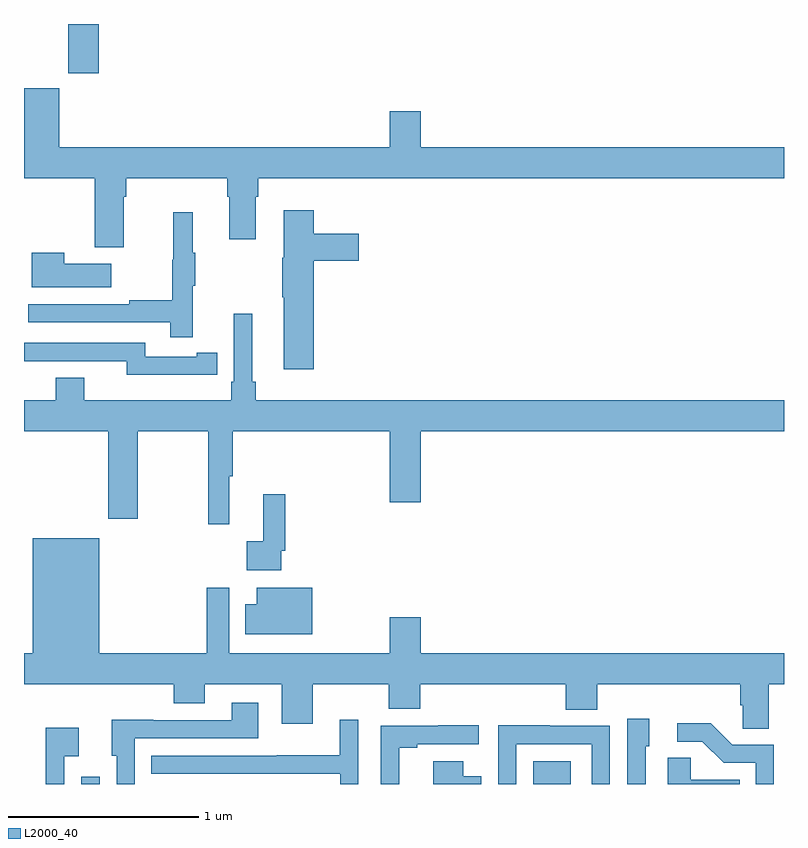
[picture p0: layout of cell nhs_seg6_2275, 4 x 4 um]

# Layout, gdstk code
import gdstk
lib = gdstk.Library(unit=1e-6, precision=1e-09)
def R(c, l, rs):  # rectangles x0, y0, x1, y1
    for r in rs: c.add(gdstk.rectangle(r[:2], r[2:], *l))
def P(c, l, *ps):  # polygons
    for p in ps: c.add(gdstk.Polygon(p, *l))
L2000_40 = (2000, 40)

nhs_seg6_2275 = lib.new_cell('nhs_seg6_2275')
R(nhs_seg6_2275, L2000_40, [(247.302,925.5,247.398,925.537), (249.68,925.5,249.877,925.621), (247.234,929.241,247.394,929.5)])
P(nhs_seg6_2275, L2000_40, [(247.525,928.592),(247.538,928.592),(247.538,928.688),(248.069,928.688),(248.069,928.592),(248.081,928.592),(248.081,928.368),(248.221,928.368),(248.221,928.592),(248.234,928.592),(248.234,928.688),(251,928.688),(251,928.852),(249.088,928.852),(249.088,929.041),(248.924,929.041),(248.924,928.852),(247.186,928.852),(247.186,929.161),(247,929.161),(247,928.688),(247.373,928.688),(247.373,928.326),(247.525,928.326)],
  [(248.525,928.253),(248.761,928.253),(248.761,928.395),(248.525,928.395),(248.525,928.519),(248.366,928.519),(248.366,928.269),(248.359,928.269),(248.359,928.063),(248.366,928.063),(248.366,927.684),(248.525,927.684)],
  [(247.889,928.123),(247.9,928.123),(247.9,928.297),(247.889,928.297),(247.889,928.51),(247.786,928.51),(247.786,928.26),(247.779,928.26),(247.779,928.046),(247.555,928.046),(247.555,928.026),(247.023,928.026),(247.023,927.93),(247.771,927.93),(247.771,927.852),(247.889,927.852)],
  [(247.459,928.237),(247.211,928.237),(247.211,928.297),(247.04,928.297),(247.04,928.115),(247.459,928.115)],
  [(248.081,927.12),(248.099,927.12),(248.099,927.356),(248.924,927.356),(248.924,926.982),(249.088,926.982),(249.088,927.356),(251,927.356),(251,927.52),(248.219,927.52),(248.219,927.616),(248.2,927.616),(248.2,927.976),(248.103,927.976),(248.103,927.616),(248.09,927.616),(248.09,927.52),(247.318,927.52),(247.318,927.637),(247.166,927.637),(247.166,927.52),(247,927.52),(247,927.356),(247.444,927.356),(247.444,926.895),(247.599,926.895),(247.599,927.356),(247.971,927.356),(247.971,926.868),(248.081,926.868)],
  [(247.91,927.654),(248.018,927.654),(248.018,927.77),(247.91,927.77),(247.91,927.75),(247.638,927.75),(247.638,927.822),(247,927.822),(247,927.725),(247.082,927.725),(247.082,927.726),(247.542,927.726),(247.542,927.653),(247.91,927.653)],
  [(248.355,926.728),(248.375,926.728),(248.375,927.025),(248.258,927.025),(248.258,926.777),(248.172,926.777),(248.172,926.624),(248.355,926.624)],
  [(250.921,926.024),(251,926.024),(251,926.188),(249.088,926.188),(249.088,926.377),(248.924,926.377),(248.924,926.188),(248.079,926.188),(248.079,926.533),(247.963,926.533),(247.963,926.188),(247.396,926.188),(247.396,926.794),(247.046,926.794),(247.046,926.188),(247,926.188),(247,926.024),(247.787,926.024),(247.787,925.925),(247.951,925.925),(247.951,926.024),(248.357,926.024),(248.357,925.818),(248.521,925.818),(248.521,926.024),(248.921,926.024),(248.921,925.896),(249.085,925.896),(249.085,926.024),(249.851,926.024),(249.851,925.891),(250.016,925.891),(250.016,926.024),(250.769,926.024),(250.769,925.915),(250.782,925.915),(250.782,925.792),(250.921,925.792)],
  [(248.518,926.533),(248.225,926.533),(248.225,926.446),(248.164,926.446),(248.164,926.288),(248.518,926.288)],
  [(247.584,925.74),(248.233,925.74),(248.233,925.927),(248.093,925.927),(248.093,925.836),(247.681,925.836),(247.681,925.838),(247.463,925.838),(247.463,925.65),(247.488,925.65),(247.488,925.5),(247.584,925.5)],
  [(250.272,925.698),(250.291,925.698),(250.291,925.843),(250.176,925.843),(250.176,925.5),(250.272,925.5)],
  [(248.76,925.837),(248.663,925.837),(248.663,925.651),(248.329,925.651),(248.329,925.65),(247.669,925.65),(247.669,925.554),(248.664,925.554),(248.664,925.5),(248.76,925.5)],
  [(250.947,925.707),(250.728,925.707),(250.615,925.82),(250.437,925.82),(250.437,925.722),(250.571,925.722),(250.682,925.611),(250.851,925.611),(250.851,925.5),(250.947,925.5)],
  [(249.591,925.71),(249.987,925.71),(249.987,925.5),(250.083,925.5),(250.083,925.806),(249.767,925.806),(249.767,925.808),(249.495,925.808),(249.495,925.5),(249.591,925.5)],
  [(248.975,925.69),(249.07,925.69),(249.07,925.71),(249.394,925.71),(249.394,925.808),(249.181,925.808),(249.181,925.806),(248.877,925.806),(248.877,925.5),(248.975,925.5)],
  [(247.212,925.646),(247.288,925.646),(247.288,925.795),(247.115,925.795),(247.115,925.5),(247.212,925.5)],
  [(250.766,925.522),(250.509,925.522),(250.509,925.637),(250.388,925.637),(250.388,925.5),(250.766,925.5)],
  [(249.406,925.54),(249.313,925.54),(249.313,925.621),(249.155,925.621),(249.155,925.5),(249.406,925.5)])

lib.write_gds('nhs_seg6_2275.gds')
